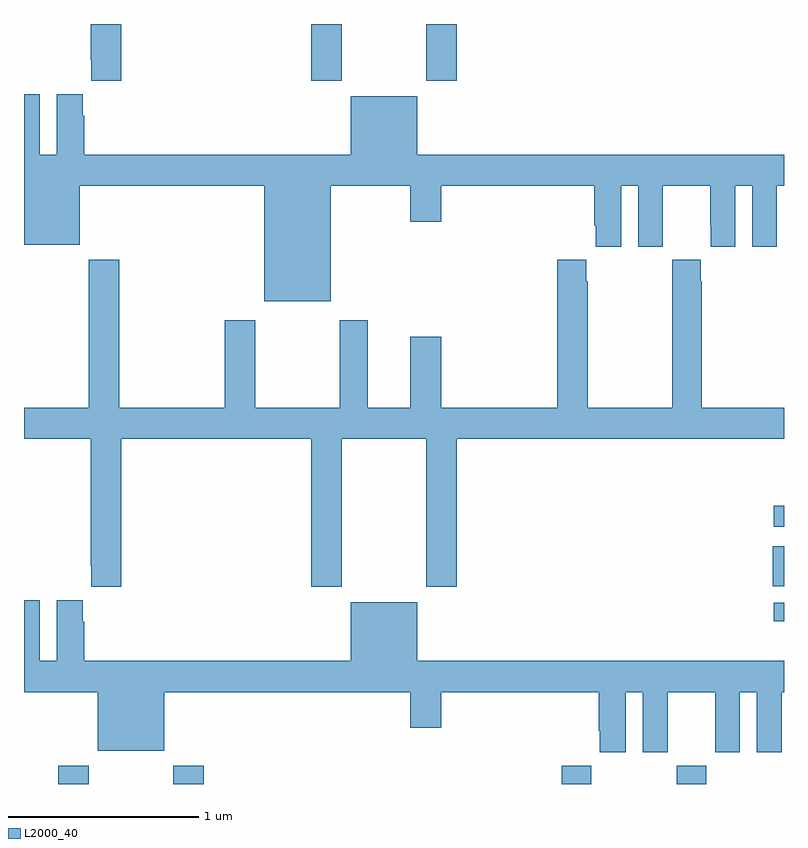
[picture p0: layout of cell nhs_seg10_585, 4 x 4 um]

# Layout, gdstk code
import gdstk
lib = gdstk.Library(unit=1e-6, precision=1e-09)
def R(c, l, rs):  # rectangles x0, y0, x1, y1
    for r in rs: c.add(gdstk.rectangle(r[:2], r[2:], *l))
def P(c, l, *ps):  # polygons
    for p in ps: c.add(gdstk.Polygon(p, *l))
L2000_40 = (2000, 40)

nhs_seg10_585 = lib.new_cell('nhs_seg10_585')
R(nhs_seg10_585, L2000_40, [(139.181,1298.5,139.341,1298.596), (139.786,1298.5,139.946,1298.596), (141.83,1298.5,141.985,1298.596), (142.435,1298.5,142.59,1298.596), (142.947,1299.357,143,1299.453), (142.94,1299.542,143,1299.751), (142.947,1299.855,143,1299.964), (140.513,1302.201,140.673,1302.5), (141.118,1302.201,141.278,1302.5)])
P(nhs_seg10_585, L2000_40, [(139.511,1302.5),(139.351,1302.5),(139.351,1302.313),(139.355,1302.313),(139.355,1302.201),(139.511,1302.201)],
  [(140.614,1301.648),(141.032,1301.648),(141.032,1301.46),(141.196,1301.46),(141.196,1301.648),(142.001,1301.648),(142.001,1301.44),(142.01,1301.44),(142.01,1301.328),(142.144,1301.328),(142.144,1301.648),(142.232,1301.648),(142.232,1301.328),(142.362,1301.328),(142.362,1301.44),(142.363,1301.44),(142.363,1301.648),(142.613,1301.648),(142.613,1301.44),(142.614,1301.44),(142.614,1301.328),(142.744,1301.328),(142.744,1301.648),(142.832,1301.648),(142.832,1301.328),(142.962,1301.328),(142.962,1301.44),(142.963,1301.44),(142.963,1301.648),(143,1301.648),(143,1301.812),(141.07,1301.812),(141.07,1302.121),(140.72,1302.121),(140.72,1301.812),(139.316,1301.812),(139.316,1302.017),(139.309,1302.017),(139.309,1302.13),(139.172,1302.13),(139.172,1301.812),(139.084,1301.812),(139.084,1302.13),(139,1302.13),(139,1301.339),(139.294,1301.339),(139.294,1301.648),(140.264,1301.648),(140.264,1301.042),(140.614,1301.042)],
  [(139.511,1300.316),(140.513,1300.316),(140.513,1299.537),(140.673,1299.537),(140.673,1300.316),(141.118,1300.316),(141.118,1299.537),(141.278,1299.537),(141.278,1300.316),(143,1300.316),(143,1300.48),(142.566,1300.48),(142.566,1301.147),(142.563,1301.147),(142.563,1301.26),(142.413,1301.26),(142.413,1301.147),(142.411,1301.147),(142.411,1300.48),(141.966,1300.48),(141.966,1301.147),(141.959,1301.147),(141.959,1301.26),(141.806,1301.26),(141.806,1300.48),(141.196,1300.48),(141.196,1300.855),(141.032,1300.855),(141.032,1300.48),(140.809,1300.48),(140.809,1300.942),(140.662,1300.942),(140.662,1300.48),(140.217,1300.48),(140.217,1300.942),(140.057,1300.942),(140.057,1300.48),(139.502,1300.48),(139.502,1301.26),(139.342,1301.26),(139.342,1300.48),(139,1300.48),(139,1300.316),(139.351,1300.316),(139.351,1299.649),(139.355,1299.649),(139.355,1299.537),(139.511,1299.537)],
  [(142.168,1298.984),(142.256,1298.984),(142.256,1298.667),(142.387,1298.667),(142.387,1298.984),(142.637,1298.984),(142.637,1298.667),(142.768,1298.667),(142.768,1298.984),(142.856,1298.984),(142.856,1298.667),(142.987,1298.667),(142.987,1298.984),(143,1298.984),(143,1299.148),(141.07,1299.148),(141.07,1299.457),(140.72,1299.457),(140.72,1299.148),(139.316,1299.148),(139.316,1299.353),(139.309,1299.353),(139.309,1299.466),(139.172,1299.466),(139.172,1299.148),(139.084,1299.148),(139.084,1299.466),(139,1299.466),(139,1298.984),(139.388,1298.984),(139.388,1298.675),(139.738,1298.675),(139.738,1298.984),(141.032,1298.984),(141.032,1298.796),(141.196,1298.796),(141.196,1298.984),(142.025,1298.984),(142.025,1298.779),(142.031,1298.779),(142.031,1298.667),(142.168,1298.667)])

lib.write_gds('nhs_seg10_585.gds')
